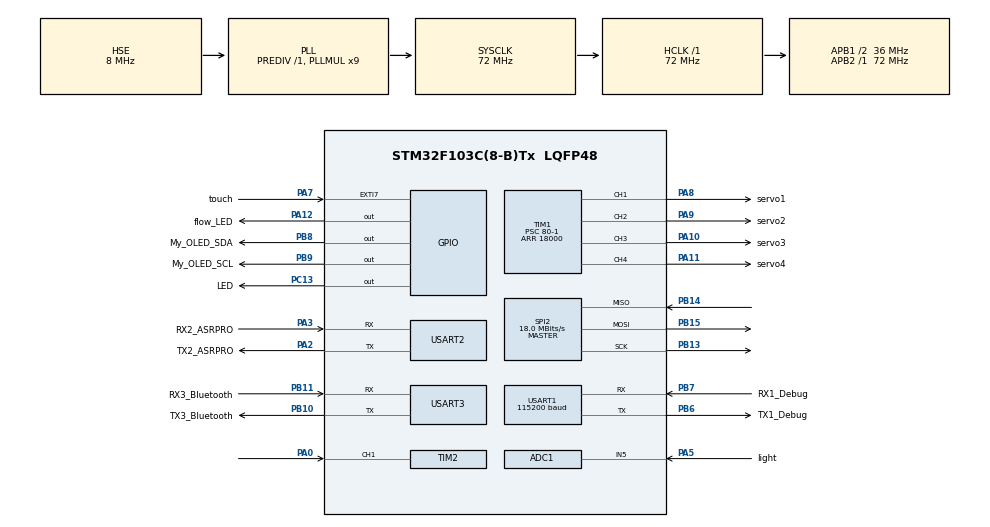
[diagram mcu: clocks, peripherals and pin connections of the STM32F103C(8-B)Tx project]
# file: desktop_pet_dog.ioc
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ADC1.Channel-3\#ChannelRegularConversion=ADC_CHANNEL_5
ADC1.ContinuousConvMode=ENABLE
ADC1.NbrOfConversionFlag=1
ADC1.Rank-3\#ChannelRegularConversion=1
ADC1.SamplingTime-3\#ChannelRegularConversion=ADC_SAMPLETIME_28CYCLES_5
ADC1.master=1
Dma.Request0=USART1_RX
Dma.Request1=USART2_RX
Dma.Request2=USART3_RX
Dma.USART1_RX.0.Direction=DMA_PERIPH_TO_MEMORY
Dma.USART1_RX.0.Instance=DMA1_Channel5
Dma.USART1_RX.0.MemDataAlignment=DMA_MDATAALIGN_BYTE
Dma.USART1_RX.0.MemInc=DMA_MINC_ENABLE
Dma.USART1_RX.0.Mode=DMA_NORMAL
Dma.USART1_RX.0.PeriphDataAlignment=DMA_PDATAALIGN_BYTE
Dma.USART1_RX.0.PeriphInc=DMA_PINC_DISABLE
Dma.USART1_RX.0.Priority=DMA_PRIORITY_HIGH
Dma.USART2_RX.1.Direction=DMA_PERIPH_TO_MEMORY
Dma.USART2_RX.1.Instance=DMA1_Channel6
Dma.USART2_RX.1.MemDataAlignment=DMA_MDATAALIGN_BYTE
Dma.USART2_RX.1.MemInc=DMA_MINC_ENABLE
Dma.USART2_RX.1.Mode=DMA_NORMAL
Dma.USART2_RX.1.PeriphDataAlignment=DMA_PDATAALIGN_BYTE
Dma.USART2_RX.1.PeriphInc=DMA_PINC_DISABLE
Dma.USART2_RX.1.Priority=DMA_PRIORITY_HIGH
Dma.USART3_RX.2.Direction=DMA_PERIPH_TO_MEMORY
Dma.USART3_RX.2.Instance=DMA1_Channel3
Dma.USART3_RX.2.MemDataAlignment=DMA_MDATAALIGN_BYTE
Dma.USART3_RX.2.MemInc=DMA_MINC_ENABLE
Dma.USART3_RX.2.Mode=DMA_NORMAL
Dma.USART3_RX.2.PeriphDataAlignment=DMA_PDATAALIGN_BYTE
Dma.USART3_RX.2.PeriphInc=DMA_PINC_DISABLE
Dma.USART3_RX.2.Priority=DMA_PRIORITY_VERY_HIGH
Mcu.Family=STM32F1
Mcu.Name=STM32F103C(8-B)Tx
Mcu.Package=LQFP48
NVIC.DMA1_Channel3_IRQn=true\:0\:0\:false\:false\:true\:false\:true\:true
NVIC.DMA1_Channel5_IRQn=true\:0\:0\:false\:false\:true\:false\:true\:true
NVIC.DMA1_Channel6_IRQn=true\:0\:0\:false\:false\:true\:false\:true\:true
NVIC.EXTI9_5_IRQn=true\:0\:0\:false\:false\:true\:true\:true\:true
NVIC.PriorityGroup=NVIC_PRIORITYGROUP_4
NVIC.TIM4_IRQn=true\:0\:0\:false\:false\:true\:true\:true\:true
NVIC.USART1_IRQn=true\:4\:0\:true\:false\:true\:true\:true\:true
NVIC.USART2_IRQn=true\:3\:0\:true\:false\:true\:true\:true\:true
NVIC.USART3_IRQn=true\:2\:0\:true\:false\:true\:true\:true\:true
PA0-WKUP.Signal=S_TIM2_CH1_ETR
PA10.GPIO_Label=servo3
PA10.Signal=S_TIM1_CH3
PA11.GPIO_Label=servo4
PA11.Signal=S_TIM1_CH4
PA12.GPIO_Label=flow_LED
PA12.GPIO_ModeDefaultOutputPP=GPIO_MODE_OUTPUT_OD
PA12.GPIO_PuPd=GPIO_NOPULL
PA12.GPIO_Speed=GPIO_SPEED_FREQ_HIGH
PA12.Signal=GPIO_Output
PA13.Mode=Serial_Wire
PA13.Signal=SYS_JTMS-SWDIO
PA14.Mode=Serial_Wire
PA14.Signal=SYS_JTCK-SWCLK
PA2.GPIO_Label=TX2_ASRPRO
PA2.Mode=Asynchronous
PA2.Signal=USART2_TX
PA3.GPIO_Label=RX2_ASRPRO
PA3.Mode=Asynchronous
PA3.Signal=USART2_RX
PA5.GPIO_Label=light
PA5.Signal=ADCx_IN5
PA7.GPIO_Label=touch
PA7.GPIO_ModeDefaultEXTI=GPIO_MODE_IT_RISING_FALLING
PA7.GPIO_PuPd=GPIO_PULLDOWN
PA7.Signal=GPXTI7
PA8.GPIO_Label=servo1
PA8.Signal=S_TIM1_CH1
PA9.GPIO_Label=servo2
PA9.Signal=S_TIM1_CH2
PB10.GPIO_Label=TX3_Bluetooth
PB10.Mode=Asynchronous
PB10.Signal=USART3_TX
PB11.GPIO_Label=RX3_Bluetooth
PB11.Mode=Asynchronous
PB11.Signal=USART3_RX
PB13.Mode=Full_Duplex_Master
PB13.Signal=SPI2_SCK
PB14.Mode=Full_Duplex_Master
PB14.Signal=SPI2_MISO
PB15.Mode=Full_Duplex_Master
PB15.Signal=SPI2_MOSI
PB6.GPIO_Label=TX1_Debug
PB6.Mode=Asynchronous
PB6.Signal=USART1_TX
PB7.GPIO_Label=RX1_Debug
PB7.Mode=Asynchronous
PB7.Signal=USART1_RX
PB8.GPIO_Label=My_OLED_SDA
PB8.GPIO_ModeDefaultOutputPP=GPIO_MODE_OUTPUT_OD
PB8.GPIO_PuPd=GPIO_PULLUP
PB8.GPIO_Speed=GPIO_SPEED_FREQ_HIGH
PB8.PinState=GPIO_PIN_SET
PB8.Signal=GPIO_Output
PB9.GPIO_Label=My_OLED_SCL
PB9.GPIO_ModeDefaultOutputPP=GPIO_MODE_OUTPUT_OD
PB9.GPIO_PuPd=GPIO_PULLUP
PB9.GPIO_Speed=GPIO_SPEED_FREQ_HIGH
PB9.PinState=GPIO_PIN_SET
PB9.Signal=GPIO_Output
PC13-TAMPER-RTC.GPIO_Label=LED
PC13-TAMPER-RTC.GPIO_Speed=GPIO_SPEED_FREQ_LOW
PC13-TAMPER-RTC.Signal=GPIO_Output
PD0-OSC_IN.Mode=HSE-External-Oscillator
PD0-OSC_IN.Signal=RCC_OSC_IN
PD1-OSC_OUT.Mode=HSE-External-Oscillator
PD1-OSC_OUT.Signal=RCC_OSC_OUT
ProjectManager.HeapSize=0x200
ProjectManager.StackSize=0x400
ProjectManager.TargetToolchain=MDK-ARM V5.32
RCC.ADCPresc=RCC_ADCPCLK2_DIV6
RCC.AHBFreq_Value=72000000
RCC.APB1CLKDivider=RCC_HCLK_DIV2
RCC.APB1Freq_Value=36000000
RCC.APB1TimFreq_Value=72000000
RCC.APB2Freq_Value=72000000
RCC.APB2TimFreq_Value=72000000
RCC.HCLKFreq_Value=72000000
RCC.PLLMUL=RCC_PLL_MUL9
RCC.PLLSourceVirtual=RCC_PLLSOURCE_HSE
RCC.SYSCLKFreq_VALUE=72000000
RCC.SYSCLKSource=RCC_SYSCLKSOURCE_PLLCLK
RCC.USBFreq_Value=72000000
SH.ADCx_IN5.0=ADC1_IN5,IN5
SH.S_TIM1_CH1.0=TIM1_CH1,PWM Generation1 CH1
SH.S_TIM1_CH2.0=TIM1_CH2,PWM Generation2 CH2
SH.S_TIM1_CH3.0=TIM1_CH3,PWM Generation3 CH3
SH.S_TIM1_CH4.0=TIM1_CH4,PWM Generation4 CH4
SH.S_TIM2_CH1_ETR.0=TIM2_CH1,PWM_Input_1
SPI2.CalculateBaudRate=18.0 MBits/s
SPI2.Direction=SPI_DIRECTION_2LINES
SPI2.Mode=SPI_MODE_MASTER
SPI2.VirtualType=VM_MASTER
TIM1.Channel-PWM\ Generation1\ CH1=TIM_CHANNEL_1
TIM1.Channel-PWM\ Generation2\ CH2=TIM_CHANNEL_2
TIM1.Channel-PWM\ Generation3\ CH3=TIM_CHANNEL_3
TIM1.Channel-PWM\ Generation4\ CH4=TIM_CHANNEL_4
TIM1.Period=18000
TIM1.Prescaler=80-1
TIM3.AutoReloadPreload=TIM_AUTORELOAD_PRELOAD_ENABLE
TIM3.Period=65535
TIM3.Prescaler=72-1
TIM4.AutoReloadPreload=TIM_AUTORELOAD_PRELOAD_ENABLE
TIM4.Period=1000
TIM4.Prescaler=720-1
USART1.BaudRate=115200
USART1.VirtualMode=VM_ASYNC
USART2.VirtualMode=VM_ASYNC
USART3.VirtualMode=VM_ASYNC
VP_TIM1_VS_ClockSourceINT.Mode=Internal
VP_TIM3_VS_ClockSourceINT.Mode=Internal
VP_TIM4_VS_ClockSourceINT.Mode=Internal
board=custom

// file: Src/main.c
/* USER CODE BEGIN Header */
/**
  ******************************************************************************
  * @file           : main.c
  * @brief          : Main program body
  ******************************************************************************
  * @attention
  *
  * Copyright (c) 2025 STMicroelectronics.
  * All rights reserved.
  *
  * This software is licensed under terms that can be found in the LICENSE file
  * in the root directory of this software component.
  * If no LICENSE file comes with this software, it is provided AS-IS.
  *
  ******************************************************************************
  */
/* USER CODE END Header */
#include "main.h"
#include "adc.h"
#include "dma.h"
#include "spi.h"
#include "tim.h"
#include "usart.h"
#include "gpio.h"

/* USER CODE BEGIN Includes */
#include "debug.h"
#include "servo.h"
#include "face.h"
#include "bsp_LED.h"
#include "bsp_uart.h"
#include "OLED.h"
#include "motion.h"
#include "delay.h"
#include "ws2812.h"
#include "HMI.h"
#include "BlueTooth.h"
#include "Myit.h"
/* USER CODE END Includes */

/* USER CODE BEGIN PV */
volatile uint8_t Myit_f = 0;
volatile uint8_t touch_f = 0;
uint8_t touch_level_last = 0;
uint8_t touch_level_now = 0;

// 要发送的十六进制数值
uint8_t hex_data[] = {0xAA};
size_t data_length = sizeof(hex_data) / sizeof(hex_data[0]);

Face_HandleTypeDef hface;

// 创建运动控制器实例
Motion_HandleTypeDef hMotion;

uint8_t dog_light_f = 1;
uint16_t time_cnt = 0;
/* USER CODE END PV */

void SystemClock_Config(void);
/* USER CODE BEGIN PFP */
void adc_light_process(void);
void Myit_process(void);
/* USER CODE END PFP */

int main(void)
{

  /* MCU Configuration--------------------------------------------------------*/

  /* Reset of all peripherals, Initializes the Flash interface and the Systick. */
  HAL_Init();

  /* Configure the system clock */
  SystemClock_Config();

  /* Initialize all configured peripherals */
  MX_GPIO_Init();
  MX_DMA_Init();
  MX_TIM2_Init();
  MX_TIM3_Init();
  MX_USART1_UART_Init();
  MX_USART2_UART_Init();
  MX_USART3_UART_Init();
  MX_ADC1_Init();
  MX_SPI2_Init();
  MX_TIM1_Init();
  MX_TIM4_Init();
  /* USER CODE BEGIN 2 */

//  __disable_irq();
  HAL_Delay(500);

  Face_Init(&hface, NULL);

  HAL_ADC_Stop(&hadc1);
  HAL_ADCEx_Calibration_Start(&hadc1);
  HAL_Delay(20);
  HAL_ADC_Start(&hadc1);

  OLED_Clear();
  OLED_ShowImage(22, 0, 86, 64, OSHAImg);
  OLED_Update();
  HAL_Delay(800);
  OLED_Clear();
  OLED_ShowImage(38,10,80,80,rosydoedian);
  OLED_Update();
  HAL_Delay(800);

  hex_data[0] = 0x99;
  HMI_send_hex_values(hex_data, data_length);

  servo_Init();
  HMI_Init();
  BLUETOOTH_Init();
  Myit_Init();

//  __enable_irq();

  // 初始化运动控制器
  motion_init(&hMotion);

  // 设置运动速度为70（范围0-100）
  motion_set_speed(&hMotion, 70);

  // 演示基本姿态切换
  motion_set_pose(&hMotion, POSE_STAND);    // 站立
//  HAL_Delay(1000);                          // 等待1秒
  /* USER CODE END 2 */

  /* Infinite loop */
  /* USER CODE BEGIN WHILE */
  while (1)
  {
    BLUETOOTH_process_information();
    HMI_process_information();

    Myit_process();

    adc_light_process();

    /* USER CODE END WHILE */

  }
}

void SystemClock_Config(void)
{
  RCC_OscInitTypeDef RCC_OscInitStruct = {0};
  RCC_ClkInitTypeDef RCC_ClkInitStruct = {0};
  RCC_PeriphCLKInitTypeDef PeriphClkInit = {0};

  /** Initializes the RCC Oscillators according to the specified parameters
  * in the RCC_OscInitTypeDef structure.
  */
  RCC_OscInitStruct.OscillatorType = RCC_OSCILLATORTYPE_HSE;
  RCC_OscInitStruct.HSEState = RCC_HSE_ON;
  RCC_OscInitStruct.HSEPredivValue = RCC_HSE_PREDIV_DIV1;
  RCC_OscInitStruct.HSIState = RCC_HSI_ON;
  RCC_OscInitStruct.PLL.PLLState = RCC_PLL_ON;
  RCC_OscInitStruct.PLL.PLLSource = RCC_PLLSOURCE_HSE;
  RCC_OscInitStruct.PLL.PLLMUL = RCC_PLL_MUL9;
  if (HAL_RCC_OscConfig(&RCC_OscInitStruct) != HAL_OK)
  {
    Error_Handler();
  }

  /** Initializes the CPU, AHB and APB buses clocks
  */
  RCC_ClkInitStruct.ClockType = RCC_CLOCKTYPE_HCLK|RCC_CLOCKTYPE_SYSCLK
                              |RCC_CLOCKTYPE_PCLK1|RCC_CLOCKTYPE_PCLK2;
  RCC_ClkInitStruct.SYSCLKSource = RCC_SYSCLKSOURCE_PLLCLK;
  RCC_ClkInitStruct.AHBCLKDivider = RCC_SYSCLK_DIV1;
  RCC_ClkInitStruct.APB1CLKDivider = RCC_HCLK_DIV2;
  RCC_ClkInitStruct.APB2CLKDivider = RCC_HCLK_DIV1;

  if (HAL_RCC_ClockConfig(&RCC_ClkInitStruct, FLASH_LATENCY_2) != HAL_OK)
  {
    Error_Handler();
  }
  PeriphClkInit.PeriphClockSelection = RCC_PERIPHCLK_ADC;
  PeriphClkInit.AdcClockSelection = RCC_ADCPCLK2_DIV6;
  if (HAL_RCCEx_PeriphCLKConfig(&PeriphClkInit) != HAL_OK)
  {
    Error_Handler();
  }
}

/* USER CODE BEGIN 4 */
void face_test(void)
{
    OLED_ShowImage(0, 0, 128, 64, BMP1);
    OLED_Update();
    HAL_Delay(500);
    OLED_ShowImage(0, 0, 128, 64, BMP2);
    OLED_Update();
    HAL_Delay(500);
    OLED_ShowImage(0, 0, 128, 64, BMP3);
    OLED_Update();
    HAL_Delay(500);
    OLED_ShowImage(0, 0, 128, 64, BMP4);
    OLED_Update();
    HAL_Delay(500);
    OLED_ShowImage(0, 0, 128, 64, BMP5);
    OLED_Update();
    HAL_Delay(500);
    OLED_ShowImage(0, 0, 128, 64, BMP6);
    OLED_Update();
    HAL_Delay(500);
    OLED_ShowImage(0, 0, 128, 64, BMP7);
    OLED_Update();
    HAL_Delay(500);
    OLED_ShowImage(0, 0, 128, 64, BMPaa);
    OLED_Update();
    HAL_Delay(500);
    OLED_ShowImage(0, 0, 128, 64, BMPbb);
    OLED_Update();
    HAL_Delay(500);
    OLED_ShowImage(0, 0, 128, 64, BMPcc);
    OLED_Update();
    HAL_Delay(500);
    OLED_ShowImage(0, 0, 128, 64, BMPdd);
    OLED_Update();
    HAL_Delay(500);
    OLED_ShowImage(0, 0, 128, 64, BMPee);
    OLED_Update();
    HAL_Delay(500);
}
void adc_light_process(void){
    HAL_ADC_PollForConversion(&hadc1, 20);
    printf("LDR ADC : %d,\n", HAL_ADC_GetValue(&hadc1));
    if(HAL_ADC_GetValue(&hadc1) <= 150 && dog_light_f)
    {
      dog_light_f = 0;
      hex_data[0] = 0xAA;
      HMI_send_hex_values(hex_data, data_length);
    }else if(HAL_ADC_GetValue(&hadc1) >= 1000 && !dog_light_f){
      hex_data[0] = 0xDD;
      HMI_send_hex_values(hex_data, data_length);
      OLED_ShowImage(0, 0, 128, 64, BMPcc);
      OLED_Update();
      time_cnt = 0;
      dog_light_f = 1;
    }
}
void Myit_process(void){
    if(Myit_f)
    {
      LED_Toggle();
      Myit_f = 0;
      time_cnt++;
      if(time_cnt >=120)
      {
        time_cnt = 0;
        OLED_ShowImage(0, 0, 128, 64, BMP1);
        OLED_Update();
      }
    }
}
/* USER CODE END 4 */

void Error_Handler(void)
{
  __disable_irq();
  while (1)
  {
  }
}
